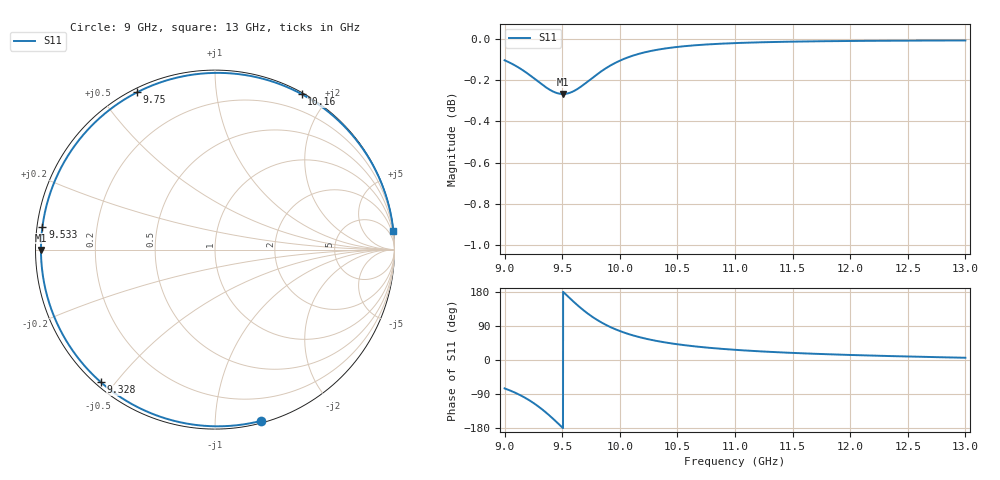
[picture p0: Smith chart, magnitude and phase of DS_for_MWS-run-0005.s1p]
! TOUCHSTONE file generated by CST DESIGN STUDIO
! Date and time: Tue Feb  4 13:40:05 2025
! Project name: C:\Work\MatlabApps\UnitCellOptimizationMatlab\CST\unitcell.cst
! Tree item: Tasks\Sweep1\SPara1\S-Parameters
! Header version: 2024
! Port assignment regex: !\s*Touchstone port\s*([0-9]+)\s*=\s*(CST MWS port|CST DES external port|CST DES block port)\s*(.+)\s* \(\"(.*)\"\)(\s*mode\s*([0-9]+))?.*
! Touchstone port assignment:
! Touchstone port 1 = CST DES external port 1 ("")
# GHz S MA R 50
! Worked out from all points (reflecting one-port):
!   4001 points, 9 GHz to 13 GHz, reference 50 ohm
!   lowest |S11| = -0.3 dB at 9.507 GHz (marker M1), VSWR 65.12, Z = 0.768 - j0.0671 ohm
!   phase of S11 starts at -75 deg and turns -279 deg over the sweep
!   S11 on the Smith chart (normalised r, x): 9 GHz: 0.02, -1.31; 9.328 GHz: 0.02, -0.46; 9.533 GHz: 0.02, +0.06; 9.75 GHz: 0.02, +0.62; 10.16 GHz: 0.02, +1.70; 13 GHz: 0, +19
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9  0.9882 -74.9
9.087  0.9855 -85.7
9.19  0.9814 -101.8
9.262  0.978 -115.8
9.328  0.9748 -130.8
9.374  0.9728 -142.4
9.422  0.9711 -155.4
9.462  0.9701 -166.8
9.5  0.9698 -177.8
9.507  0.9697 -179.8
9.533  0.9699 172.6
9.587  0.9709 157.1
9.647  0.9731 140.8
9.698  0.9754 128.1
9.75  0.9779 116.4
9.801  0.9804 106.2
9.858  0.9829 96.1
9.929  0.9857 85.4
10  0.988 76.5
10.163  0.9918 60.9
10.316  0.994 50.5
10.5  0.9956 41.5
10.722  0.9969 33.8
11  0.9978 26.9
11.5  0.9986 18.7
12  0.999 13.3
12.5  0.9992 9.2
13  0.9992 5.9
